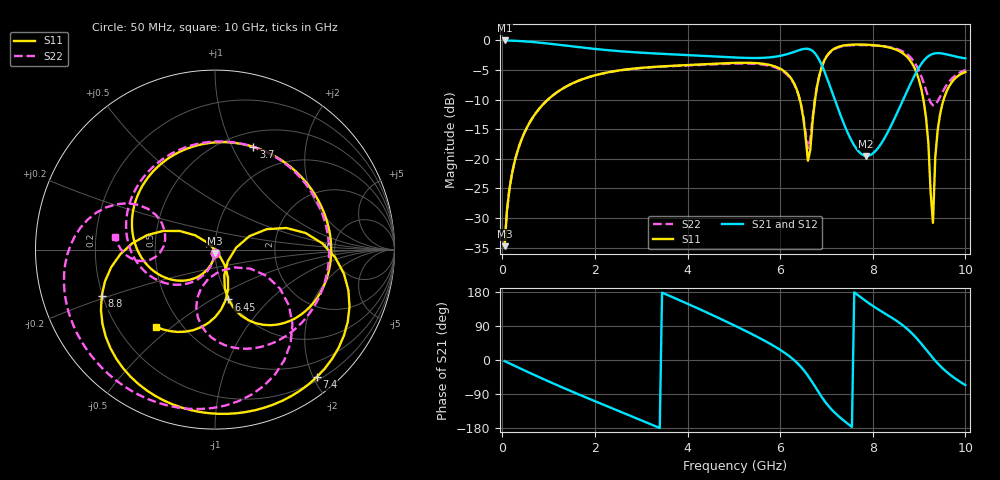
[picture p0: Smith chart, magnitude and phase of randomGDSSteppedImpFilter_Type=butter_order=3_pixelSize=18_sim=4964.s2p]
! freq	dB(S11)	phase(S11)	dB(S12)	phase(S12)
!  dB(S21)	phase(S21)	dB(S22)	phase(S22)
!S-par simulation data
#  GHz  S  DB  R 50
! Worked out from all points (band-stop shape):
!   200 points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, 50 MHz to 10 GHz, reference 50 ohm
!   highest |S21| = -0.01 dB at 50 MHz (marker M1); lowest = -19.5 dB at 7.85 GHz (marker M2)
!   |S21| within 3 dB of the highest: start of sweep to 6.823 GHz; 9.149 GHz to 9.978 GHz (829.4 MHz wide, 8.67 % of centre)
!   lowest |S11| = -34.7 dB at 50 MHz (marker M3), VSWR 1.04, Z = 49.9 - j1.83 ohm
!   |S11| at or under -10 dB: start of sweep to 984.7 MHz; 6.424 GHz to 6.753 GHz (329.4 MHz wide, 5 % of centre); 9.093 GHz to 9.531 GHz (438.3 MHz wide, 4.71 % of centre)
!   |S22| runs from -34.7 to -0.8 dB; largest |S21 - S12| = 0
!   S11 on the Smith chart (normalised r, x): 50 MHz: 1.00, -0.04; 3.7 GHz: 0.66, +1.21; 6.45 GHz: 0.98, -0.60; 7.4 GHz: 0.25, -2.05; 8.8 GHz: 0.20, -0.19; 10 GHz: 0.36, -0.44
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0.05  -34.74 -91.4  -0.01 -2.9  -0.01 -2.9  -34.73 -91.0
0.2  -22.90 -102.4  -0.04 -11.6  -0.04 -11.6  -22.90 -100.9
0.5  -15.22 -121.2  -0.17 -28.7  -0.17 -28.7  -15.22 -117.3
1.75  -6.51 167.1  -1.23 -96.0  -1.23 -96.0  -6.51 179.6
2.6  -4.99 123.0  -1.87 -138.8  -1.87 -138.8  -5.00 138.1
3.4  -4.41 83.8  -2.25 -179.6  -2.25 -179.6  -4.45 96.0
3.7  -4.28 69.6  -2.36 164.6  -2.36 164.6  -4.33 78.7
5.05  -3.79 7.2  -2.90 88.9  -2.90 88.9  -3.91 -8.5
5.9  -4.43 -37.2  -2.75 34.5  -2.75 34.5  -4.58 -68.7
6.45  -10.82 -75.0  -1.55 -18.4  -1.55 -18.4  -10.83 -110.1
6.6  -20.32 -42.1  -1.43 -41.5  -1.43 -41.5  -18.21 -77.5
6.7  -13.72 21.3  -1.78 -59.8  -1.78 -59.8  -13.02 -28.3
7  -2.72 -10.6  -6.13 -114.7  -6.13 -114.7  -2.78 -57.8
7.4  -0.83 -51.4  -14.54 -162.5  -14.54 -162.5  -0.93 -99.3
7.85  -0.73 -82.5  -19.51 155.6  -19.51 155.6  -0.79 -130.4
8.35  -1.19 -115.9  -15.10 116.2  -15.10 116.2  -1.12 -161.0
8.8  -3.32 -157.7  -7.57 75.8  -7.57 75.8  -2.75 166.7
9.1  -10.29 160.1  -3.43 35.1  -3.43 35.1  -7.20 148.7
9.3  -30.80 -50.1  -2.27 4.9  -2.27 4.9  -10.96 168.2
9.35  -19.65 -58.1  -2.18 -2.1  -2.18 -2.1  -10.84 176.5
9.45  -12.63 -71.8  -2.16 -15.1  -2.16 -15.1  -9.55 -173.1
10  -5.34 -127.4  -3.04 -66.2  -3.04 -66.2  -5.02 172.6
